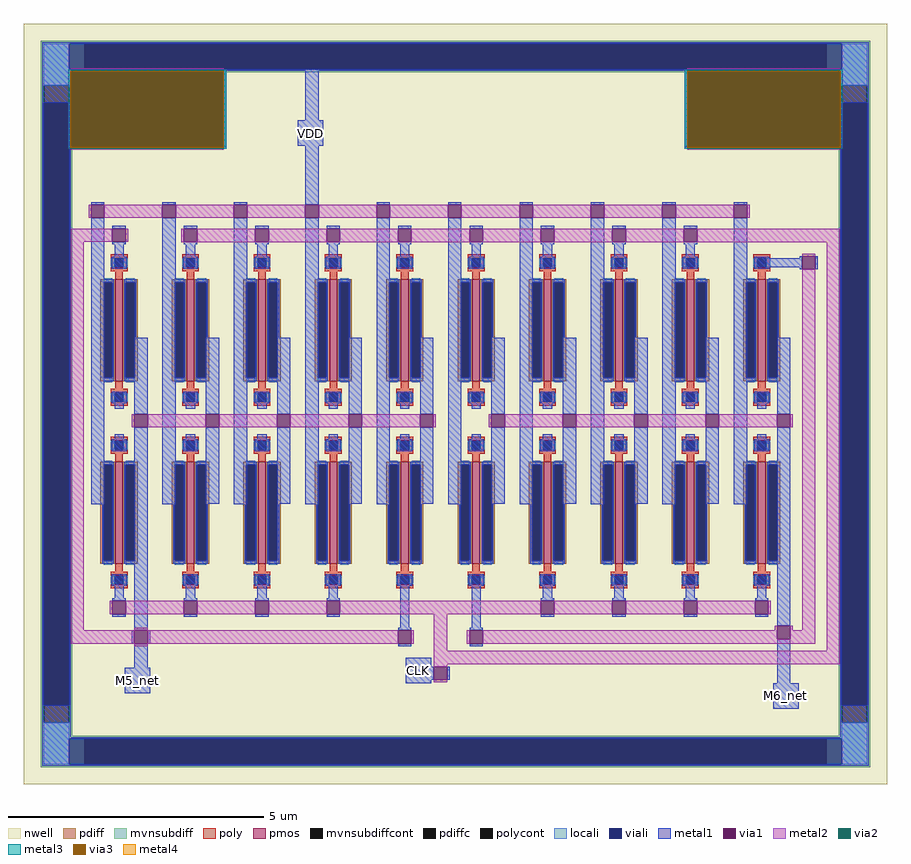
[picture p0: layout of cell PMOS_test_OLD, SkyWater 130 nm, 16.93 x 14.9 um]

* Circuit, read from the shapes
.subckt PMOS_test_OLD CLK M5_net M6_net VDD
XM1 M5_net CLK VDD VDD sky130_fd_pr__pfet_01v8 w=2 l=0.15 m=8
XM2 M5_net M5_net VDD VDD sky130_fd_pr__pfet_01v8 w=2 l=0.15 m=2
XM3 M6_net M6_net VDD VDD sky130_fd_pr__pfet_01v8 w=2 l=0.15 m=2
XM4 M6_net CLK VDD VDD sky130_fd_pr__pfet_01v8 w=2 l=0.15 m=8
.ends

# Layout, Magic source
magic
tech sky130B
magscale 1 2
<< nwell >>
rect -374 -1780 3012 1200
<< mvnsubdiff >>
rect -308 1122 2946 1134
rect -308 1022 -134 1122
rect 2772 1022 2946 1122
rect -308 1010 2946 1022
rect -308 960 -184 1010
rect -308 -1540 -296 960
rect -196 -1540 -184 960
rect -308 -1590 -184 -1540
rect 2822 960 2946 1010
rect 2822 -1540 2834 960
rect 2934 -1540 2946 960
rect 2822 -1590 2946 -1540
rect -308 -1602 2946 -1590
rect -308 -1702 -134 -1602
rect 2772 -1702 2946 -1602
rect -308 -1714 2946 -1702
<< mvnsubdiffcont >>
rect -134 1022 2772 1122
rect -296 -1540 -196 960
rect 2834 -1540 2934 960
rect -134 -1702 2772 -1602
<< locali >>
rect -296 960 -196 1122
rect -296 -1702 -196 -1540
rect 2834 960 2934 1122
rect 2834 -1702 2934 -1540
<< viali >>
rect -196 1022 -134 1122
rect -134 1022 2772 1122
rect 2772 1022 2834 1122
rect -296 -1471 -196 891
rect 2834 -1471 2934 891
rect -196 -1702 -134 -1602
rect -134 -1702 2772 -1602
rect 2772 -1702 2834 -1602
<< metal1 >>
rect -302 1122 2940 1128
rect -302 1022 -196 1122
rect 2834 1022 2940 1122
rect -302 1016 2940 1022
rect -302 891 -190 1016
rect -302 -1471 -296 891
rect -196 -1471 -190 891
rect 410 716 420 1016
rect 730 822 782 1016
rect 700 722 800 822
rect -110 492 -58 502
rect -110 -684 -58 440
rect 170 492 222 502
rect -26 398 26 408
rect -26 336 26 346
rect -18 246 18 336
rect -18 -308 18 -246
rect 60 -330 112 -30
rect -18 -470 18 -408
rect -18 -1052 18 -962
rect -26 -1062 26 -1052
rect -26 -1124 26 -1114
rect 60 -1178 112 -382
rect 170 -684 222 440
rect 450 492 502 502
rect 254 398 306 408
rect 254 336 306 346
rect 262 246 298 336
rect 262 -308 298 -246
rect 340 -330 392 -30
rect 262 -470 298 -408
rect 340 -682 392 -382
rect 450 -684 502 440
rect 730 492 782 722
rect 2218 716 2228 1016
rect 2828 891 2940 1016
rect 534 398 586 408
rect 534 336 586 346
rect 542 246 578 336
rect 542 -308 578 -246
rect 620 -330 672 -30
rect 542 -470 578 -408
rect 620 -682 672 -382
rect 730 -684 782 440
rect 1010 492 1062 502
rect 814 398 866 408
rect 814 336 866 346
rect 822 246 858 336
rect 822 -308 858 -246
rect 900 -330 952 -30
rect 822 -470 858 -408
rect 900 -682 952 -382
rect 1010 -684 1062 440
rect 1290 492 1342 502
rect 1094 398 1146 408
rect 1094 336 1146 346
rect 1102 246 1138 336
rect 1102 -308 1138 -246
rect 1180 -330 1232 -30
rect 1102 -470 1138 -408
rect 1180 -682 1232 -382
rect 1290 -684 1342 440
rect 1570 492 1622 502
rect 1374 398 1426 408
rect 1374 336 1426 346
rect 1382 246 1418 336
rect 1382 -308 1418 -246
rect 1460 -330 1512 -30
rect 1382 -470 1418 -408
rect 1460 -682 1512 -382
rect 1570 -684 1622 440
rect 1850 492 1902 502
rect 1654 398 1706 408
rect 1654 336 1706 346
rect 1662 246 1698 336
rect 1662 -308 1698 -246
rect 1740 -330 1792 -30
rect 1662 -470 1698 -408
rect 1740 -682 1792 -382
rect 1850 -684 1902 440
rect 2130 492 2182 502
rect 1934 398 1986 408
rect 1934 336 1986 346
rect 1942 246 1978 336
rect 1942 -308 1978 -246
rect 2020 -330 2072 -30
rect 1942 -470 1978 -408
rect 2020 -682 2072 -382
rect 2130 -684 2182 440
rect 2410 492 2462 502
rect 2214 398 2266 408
rect 2214 336 2266 346
rect 2222 246 2258 336
rect 2222 -308 2258 -246
rect 2300 -330 2352 -30
rect 2222 -470 2258 -408
rect 2300 -682 2352 -382
rect 2410 -684 2462 440
rect 2668 282 2678 290
rect 2502 246 2678 282
rect 2668 238 2678 246
rect 2730 238 2740 290
rect 2502 -308 2538 -246
rect 2580 -330 2632 -30
rect 2502 -470 2538 -408
rect 262 -1052 298 -962
rect 542 -1052 578 -962
rect 822 -1052 858 -962
rect 254 -1062 306 -1052
rect 254 -1124 306 -1114
rect 534 -1062 586 -1052
rect 534 -1124 586 -1114
rect 814 -1062 866 -1052
rect 814 -1124 866 -1114
rect 1102 -1168 1138 -962
rect 1382 -1168 1418 -962
rect 1662 -1052 1698 -962
rect 1942 -1052 1978 -962
rect 2222 -1052 2258 -962
rect 2502 -1052 2538 -962
rect 1654 -1062 1706 -1052
rect 1654 -1124 1706 -1114
rect 1934 -1062 1986 -1052
rect 1934 -1124 1986 -1114
rect 2214 -1062 2266 -1052
rect 2214 -1124 2266 -1114
rect 2494 -1062 2546 -1052
rect 2494 -1124 2546 -1114
rect 2580 -1160 2632 -382
rect 1094 -1178 1146 -1168
rect 50 -1230 60 -1178
rect 112 -1230 122 -1178
rect 60 -1324 112 -1230
rect 1094 -1240 1146 -1230
rect 1374 -1178 1426 -1168
rect 1374 -1240 1426 -1230
rect 1124 -1320 1224 -1284
rect 22 -1424 122 -1324
rect 1124 -1372 1234 -1320
rect 1286 -1372 1296 -1320
rect 1124 -1384 1224 -1372
rect 2580 -1384 2632 -1212
rect -302 -1596 -190 -1471
rect 2564 -1484 2664 -1384
rect 2828 -1471 2834 891
rect 2934 -1471 2940 891
rect 2828 -1596 2940 -1471
rect -302 -1602 2940 -1596
rect -302 -1702 -196 -1602
rect 2834 -1702 2940 -1602
rect -302 -1708 2940 -1702
<< via1 >>
rect -190 716 410 1016
rect -110 440 -58 492
rect 170 440 222 492
rect -26 346 26 398
rect 60 -382 112 -330
rect -26 -1114 26 -1062
rect 450 440 502 492
rect 254 346 306 398
rect 340 -382 392 -330
rect 2228 716 2828 1016
rect 730 440 782 492
rect 534 346 586 398
rect 620 -382 672 -330
rect 1010 440 1062 492
rect 814 346 866 398
rect 900 -382 952 -330
rect 1290 440 1342 492
rect 1094 346 1146 398
rect 1180 -382 1232 -330
rect 1570 440 1622 492
rect 1374 346 1426 398
rect 1460 -382 1512 -330
rect 1850 440 1902 492
rect 1654 346 1706 398
rect 1740 -382 1792 -330
rect 2130 440 2182 492
rect 1934 346 1986 398
rect 2020 -382 2072 -330
rect 2410 440 2462 492
rect 2214 346 2266 398
rect 2300 -382 2352 -330
rect 2678 238 2730 290
rect 2580 -382 2632 -330
rect 254 -1114 306 -1062
rect 534 -1114 586 -1062
rect 814 -1114 866 -1062
rect 1654 -1114 1706 -1062
rect 1934 -1114 1986 -1062
rect 2214 -1114 2266 -1062
rect 2494 -1114 2546 -1062
rect 60 -1230 112 -1178
rect 1094 -1230 1146 -1178
rect 1374 -1230 1426 -1178
rect 2580 -1212 2632 -1160
rect 1234 -1372 1286 -1320
<< metal2 >>
rect -190 1016 410 1026
rect -190 706 410 716
rect 2228 1016 2828 1026
rect 2228 706 2828 716
rect -120 440 -110 492
rect -58 440 170 492
rect 222 440 450 492
rect 502 440 730 492
rect 782 440 1010 492
rect 1062 440 1290 492
rect 1342 440 1570 492
rect 1622 440 1850 492
rect 1902 440 2130 492
rect 2182 440 2410 492
rect 2462 440 2472 492
rect -190 346 -26 398
rect 26 346 36 398
rect 244 346 254 398
rect 306 346 534 398
rect 586 346 814 398
rect 866 346 1094 398
rect 1146 346 1374 398
rect 1426 346 1654 398
rect 1706 346 1934 398
rect 1986 346 2214 398
rect 2266 346 2826 398
rect -190 -1178 -138 346
rect 244 344 2826 346
rect 2678 290 2730 300
rect 50 -382 60 -330
rect 112 -382 340 -330
rect 392 -382 620 -330
rect 672 -382 900 -330
rect 952 -382 1180 -330
rect 1232 -382 1242 -330
rect 1450 -382 1460 -330
rect 1512 -382 1740 -330
rect 1792 -382 2020 -330
rect 2072 -382 2300 -330
rect 2352 -382 2580 -330
rect 2632 -382 2642 -330
rect -36 -1114 -26 -1062
rect 26 -1114 254 -1062
rect 306 -1114 534 -1062
rect 586 -1114 814 -1062
rect 866 -1114 1654 -1062
rect 1706 -1114 1934 -1062
rect 1986 -1114 2214 -1062
rect 2266 -1114 2494 -1062
rect 2546 -1114 2556 -1062
rect 60 -1178 112 -1168
rect -190 -1230 60 -1178
rect 112 -1230 1094 -1178
rect 1146 -1230 1156 -1178
rect 60 -1240 112 -1230
rect 1234 -1258 1286 -1114
rect 2570 -1178 2580 -1160
rect 1364 -1230 1374 -1178
rect 1426 -1212 2580 -1178
rect 2632 -1178 2642 -1160
rect 2678 -1178 2730 238
rect 2632 -1212 2730 -1178
rect 1426 -1230 2730 -1212
rect 2774 -1258 2826 344
rect 1234 -1310 2826 -1258
rect 1234 -1320 1286 -1310
rect 1234 -1382 1286 -1372
<< via2 >>
rect -190 716 410 1016
rect 2228 716 2828 1016
<< metal3 >>
rect -200 1016 420 1021
rect -200 716 -190 1016
rect 410 716 420 1016
rect -200 711 420 716
rect 2218 1016 2838 1021
rect 2218 716 2228 1016
rect 2828 716 2838 1016
rect 2218 711 2838 716
<< via3 >>
rect -190 716 410 1016
rect 2228 716 2828 1016
<< metal4 >>
rect -191 1016 411 1017
rect -191 716 -190 1016
rect 410 716 411 1016
rect -191 715 411 716
rect 2227 1016 2829 1017
rect 2227 716 2228 1016
rect 2828 716 2829 1016
rect 2227 715 2829 716
use sky130_fd_pr__pfet_01v8_MJ75SZ  xm1
transform 1 0 0 0 1 0
box -109 -300 109 300
use sky130_fd_pr__pfet_01v8_MJ75SZ  xm2
transform 1 0 280 0 1 0
box -109 -300 109 300
use sky130_fd_pr__pfet_01v8_MJ75SZ  xm3
transform 1 0 560 0 1 0
box -109 -300 109 300
use sky130_fd_pr__pfet_01v8_MJ75SZ  xm4
transform 1 0 840 0 1 0
box -109 -300 109 300
use sky130_fd_pr__pfet_01v8_MJ75SZ  xm5
transform 1 0 1120 0 1 0
box -109 -300 109 300
use sky130_fd_pr__pfet_01v8_MJ75SZ  xm6
transform 1 0 1400 0 1 0
box -109 -300 109 300
use sky130_fd_pr__pfet_01v8_MJ75SZ  xm7
transform 1 0 1680 0 1 0
box -109 -300 109 300
use sky130_fd_pr__pfet_01v8_MJ75SZ  xm8
transform 1 0 1960 0 1 0
box -109 -300 109 300
use sky130_fd_pr__pfet_01v8_MJ75SZ  xm9
transform 1 0 2240 0 1 0
box -109 -300 109 300
use sky130_fd_pr__pfet_01v8_MJ75SZ  xm10
transform 1 0 2520 0 1 0
box -109 -300 109 300
use sky130_fd_pr__pfet_01v8_MJ75SZ  xm11
transform 1 0 0 0 1 -716
box -109 -300 109 300
use sky130_fd_pr__pfet_01v8_MJ75SZ  xm12
transform 1 0 280 0 1 -716
box -109 -300 109 300
use sky130_fd_pr__pfet_01v8_MJ75SZ  xm13
transform 1 0 560 0 1 -716
box -109 -300 109 300
use sky130_fd_pr__pfet_01v8_MJ75SZ  xm14
transform 1 0 840 0 1 -716
box -109 -300 109 300
use sky130_fd_pr__pfet_01v8_MJ75SZ  xm15
transform 1 0 1120 0 1 -716
box -109 -300 109 300
use sky130_fd_pr__pfet_01v8_MJ75SZ  xm16
transform 1 0 1400 0 1 -716
box -109 -300 109 300
use sky130_fd_pr__pfet_01v8_MJ75SZ  xm17
transform 1 0 1680 0 1 -716
box -109 -300 109 300
use sky130_fd_pr__pfet_01v8_MJ75SZ  xm18
transform 1 0 1960 0 1 -716
box -109 -300 109 300
use sky130_fd_pr__pfet_01v8_MJ75SZ  xm19
transform 1 0 2240 0 1 -716
box -109 -300 109 300
use sky130_fd_pr__pfet_01v8_MJ75SZ  xm20
transform 1 0 2520 0 1 -716
box -109 -300 109 300
<< labels >>
rlabel metal1 2564 -1484 2664 -1384 1 M6_net
port 3 n
rlabel metal1 1124 -1384 1224 -1284 1 CLK
port 1 n
rlabel metal1 700 722 800 822 1 VDD
port 4 n
rlabel metal1 22 -1424 122 -1324 1 M5_net
port 2 n
<< properties >>
string FIXED_BBOX -246 -1652 2884 1072
<< end >>

# cell sky130_fd_pr__pfet_01v8_MJ75SZ: kit device sky130_fd_pr__pfet_01v8, w 2 l 0.15 m 1 nf 1 diffcov 100 polycov 100 guard 0 glc 1 grc 1 gtc 1 gbc 1 tbcov 100 rlcov 100 topc 1 botc 1 poverlap 0 doverlap 1 lmin 0.15 wmin 0.42 class mosfet compatible {sky130_fd_pr__pfet_01v8 sky130_fd_pr__pfet_01v8_lvt sky130_fd_pr__pfet_01v8_hvt sky130_fd_pr__pfet_g5v0d10v5} full_metal 0 viasrc 100 viadrn 100 viagate 100 viagb 0 viagr 0 viagl 0 viagt 0
